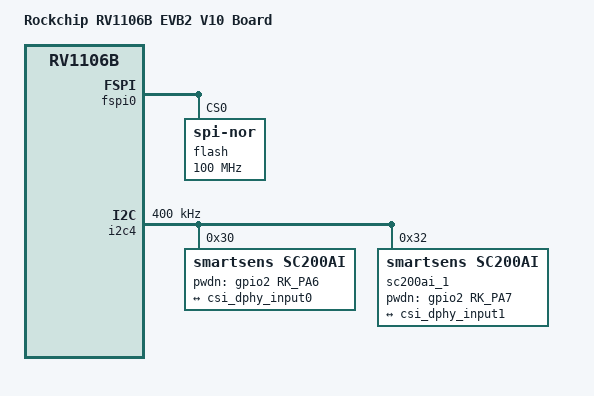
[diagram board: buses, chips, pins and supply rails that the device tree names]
// SPDX-License-Identifier: (GPL-2.0+ OR MIT)
/*
 * Copyright (c) 2026 Rockchip Electronics Co., Ltd.
 */

/dts-v1/;

#include "rv1106b.dtsi"
#include "rv1106b-evb2-v10.dtsi"
#include "rv1106b-thunder-boot-dual-cam.dtsi"
#include "rv1106b-thunder-boot-spi-nor.dtsi"

/ {
	model = "Rockchip RV1106B EVB2 V10 Board";
	compatible = "rockchip,rv1106b-evb2-v10-dual-cam", "rockchip,rv1106b";

	chosen {
		bootargs = "loglevel=0 earlycon=uart8250,mmio32,0x20540000 console=ttyFIQ0 root=/dev/rd0 rootfstype=erofs rootflags=dax snd_soc_core.prealloc_buffer_size_kbytes=16 coherent_pool=32K";
	};
};

&fspi0 {
	status = "okay";

	flash@0 {
		compatible = "jedec,spi-nor";
		reg = <0>;
		spi-max-frequency = <100000000>;
		spi-rx-bus-width = <4>;
		spi-tx-bus-width = <1>;
	};
};

&i2c4 {
	clock-frequency = <400000>;
	pinctrl-names = "default";
	pinctrl-0 = <&i2c4m1_xfer_pins>;
	rockchip,amp-shared;
	status = "okay";

	sc200ai: sc200ai@30 {
		compatible = "smartsens,sc200ai";
		reg = <0x30>;
		clocks = <&cru CLK_MIPI0_OUT2IO>;
		clock-names = "xvclk";
		pwdn-gpios = <&gpio2 RK_PA6 GPIO_ACTIVE_HIGH>;
		// reset-gpios = <&gpio0 RK_PB5 GPIO_ACTIVE_LOW>;
		pinctrl-names = "default";
		pinctrl-0 = <&cam_clk0_pins>;
		rockchip,camera-module-index = <0>;
		rockchip,camera-module-facing = "back";
		rockchip,camera-module-name = "default";
		rockchip,camera-module-lens-name = "default";

		port {
			cam0_out: endpoint {
				remote-endpoint = <&csi_dphy_input0>;
				data-lanes = <1 2>;
			};
		};
	};

	sc200ai_1: sc200ai_1@32 {
		compatible = "smartsens,sc200ai";
		reg = <0x32>;
		clocks = <&cru CLK_MIPI1_OUT2IO>;
		clock-names = "xvclk";
		pwdn-gpios = <&gpio2 RK_PA7 GPIO_ACTIVE_HIGH>;
		// reset-gpios = <&gpio0 RK_PB5 GPIO_ACTIVE_LOW>;
		pinctrl-names = "default";
		pinctrl-0 = <&cam_clk1_pins>;
		rockchip,camera-module-index = <1>;
		rockchip,camera-module-facing = "back";
		rockchip,camera-module-name = "default";
		rockchip,camera-module-lens-name = "default";

		port {
			cam1_out: endpoint {
				remote-endpoint = <&csi_dphy_input1>;
				data-lanes = <1 2>;
			};
		};
	};
};

&meta {
	/* reg's offset MUST match with RTOS */
	reg = <0x00800000 0xb0000>;
};

&rkisp_thunderboot {
	/* reg's offset MUST match with RTOS */
	/*
	 * vicap, capture raw10, ceil(w*10/8/256)*256*h *2(buf num)
	 * e.g. 1920x1080: 0xa8c000
	 * e.g. 1920x1080: 0xa8c000
	 * 0x008b0000 = (meta's reg offset) + (meta's reg size)
	 *            = 0x00800000 + 0xb0000
	 */
	reg = <0x008b0000 0x546000>;
};

&ramdisk_r {
	reg = <0xdf6000 (8 * 0x00100000)>;
};

&ramdisk_c {
	reg = <0x15f6000 (4 * 0x00100000)>;
};

&rkisp1_thunderboot {
	/*
	 * vicap, capture raw10, ceil(w*10/8/256)*256*h *2(buf num)
	 * e.g. 1920x1080: 0xa8c0000
	 * 0x26b0000  = (ramdisk_c's reg offset) + (ramdisk_c's reg size)
	 *            = 0x21b0000 + (5 * 0x00100000)
	 */
	reg = <0x19f6000 0x546000>;
};
